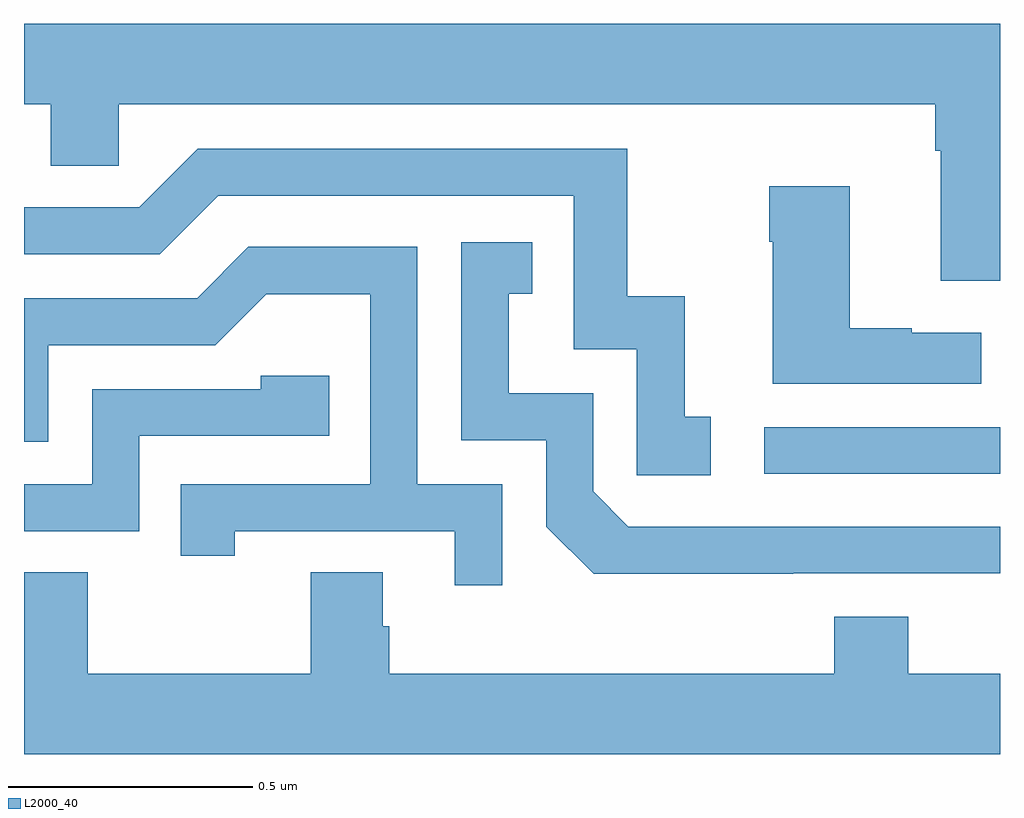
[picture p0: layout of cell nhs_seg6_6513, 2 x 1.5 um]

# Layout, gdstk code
import gdstk
lib = gdstk.Library(unit=1e-6, precision=1e-09)
def R(c, l, rs):  # rectangles x0, y0, x1, y1
    for r in rs: c.add(gdstk.rectangle(r[:2], r[2:], *l))
def P(c, l, *ps):  # polygons
    for p in ps: c.add(gdstk.Polygon(p, *l))
L2000_40 = (2000, 40)

nhs_seg6_6513 = lib.new_cell('nhs_seg6_6513')
R(nhs_seg6_6513, L2000_40, [(197.517,986.538,198,986.634)])
P(nhs_seg6_6513, L2000_40, [(198,987.46),(196,987.46),(196,987.296),(196.055,987.296),(196.055,987.169),(196.194,987.169),(196.194,987.296),(197.867,987.296),(197.867,987.2),(197.879,987.2),(197.879,986.934),(198,986.934)],
  [(197.407,986.655),(197.354,986.655),(197.354,986.902),(197.236,986.902),(197.236,987.204),(196.356,987.204),(196.236,987.084),(196,987.084),(196,986.988),(196.278,986.988),(196.398,987.108),(197.127,987.108),(197.127,986.793),(197.256,986.793),(197.256,986.535),(197.407,986.535)],
  [(197.962,986.827),(197.819,986.827),(197.819,986.837),(197.692,986.837),(197.692,987.127),(197.527,987.127),(197.527,987.014),(197.534,987.014),(197.534,986.723),(197.962,986.723)],
  [(197.576,986.334),(198,986.334),(198,986.43),(197.238,986.43),(197.166,986.502),(197.166,986.703),(196.993,986.703),(196.993,986.907),(197.042,986.907),(197.042,987.013),(196.896,987.013),(196.896,986.607),(197.07,986.607),(197.07,986.43),(197.168,986.333),(197.576,986.333)],
  [(196.98,986.517),(196.806,986.517),(196.806,987.003),(196.46,987.003),(196.355,986.898),(196,986.898),(196,986.604),(196.05,986.604),(196.05,986.802),(196.392,986.802),(196.496,986.906),(196.71,986.906),(196.71,986.517),(196.321,986.517),(196.321,986.37),(196.432,986.37),(196.432,986.421),(196.883,986.421),(196.883,986.31),(196.98,986.31)],
  [(196.236,986.616),(196.625,986.616),(196.625,986.739),(196.485,986.739),(196.485,986.712),(196.14,986.712),(196.14,986.517),(196,986.517),(196,986.421),(196.236,986.421)],
  [(198,986.128),(197.812,986.128),(197.812,986.245),(197.66,986.245),(197.66,986.128),(196.748,986.128),(196.748,986.226),(196.735,986.226),(196.735,986.336),(196.588,986.336),(196.588,986.128),(196.131,986.128),(196.131,986.336),(196,986.336),(196,985.964),(198,985.964)])

lib.write_gds('nhs_seg6_6513.gds')
